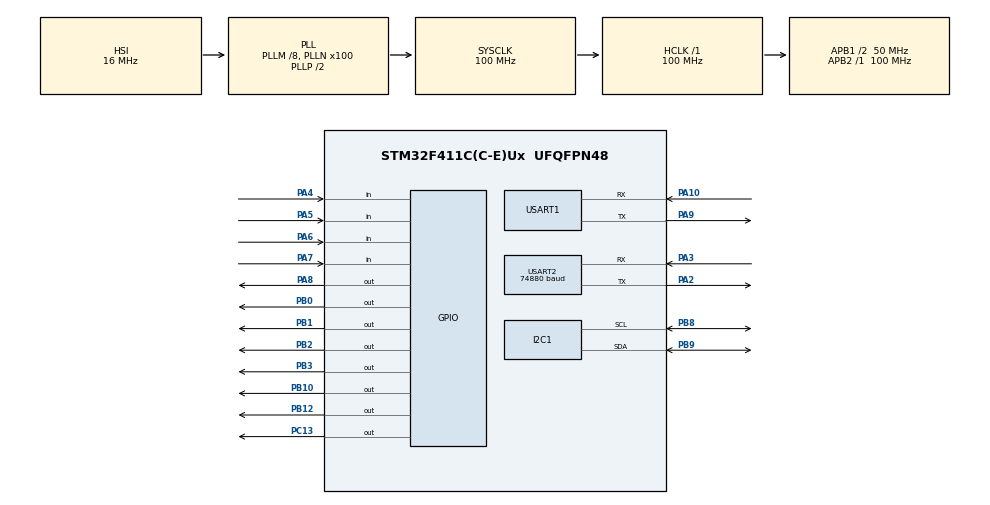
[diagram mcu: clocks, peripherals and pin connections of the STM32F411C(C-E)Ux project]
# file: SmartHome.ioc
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FREERTOS.Tasks01=defaultTask,24,128,StartDefaultTask,Default,NULL,Dynamic,NULL,NULL
I2C1.I2C_Mode=I2C_Fast
Mcu.Family=STM32F4
Mcu.Name=STM32F411C(C-E)Ux
Mcu.Package=UFQFPN48
NVIC.PriorityGroup=NVIC_PRIORITYGROUP_4
NVIC.TIM2_IRQn=true\:15\:0\:false\:false\:true\:false\:false\:true\:true
NVIC.TimeBase=TIM2_IRQn
NVIC.TimeBaseIP=TIM2
NVIC.USART2_IRQn=true\:6\:0\:true\:false\:true\:true\:true\:true\:true
PA10.Mode=Asynchronous
PA10.Signal=USART1_RX
PA13.Mode=Serial_Wire
PA13.Signal=SYS_JTMS-SWDIO
PA14.Mode=Serial_Wire
PA14.Signal=SYS_JTCK-SWCLK
PA2.Mode=Asynchronous
PA2.Signal=USART2_TX
PA3.Mode=Asynchronous
PA3.Signal=USART2_RX
PA4.Signal=GPIO_Input
PA5.Signal=GPIO_Input
PA6.Signal=GPIO_Input
PA7.Signal=GPIO_Input
PA8.Signal=GPIO_Output
PA9.Mode=Asynchronous
PA9.Signal=USART1_TX
PB0.Signal=GPIO_Output
PB1.Signal=GPIO_Output
PB10.Signal=GPIO_Output
PB12.Signal=GPIO_Output
PB2.Signal=GPIO_Output
PB3.GPIO_ModeDefaultOutputPP=GPIO_MODE_OUTPUT_OD
PB3.GPIO_PuPd=GPIO_PULLUP
PB3.GPIO_Speed=GPIO_SPEED_FREQ_HIGH
PB3.PinState=GPIO_PIN_SET
PB3.Signal=GPIO_Output
PB8.Mode=I2C
PB8.Signal=I2C1_SCL
PB9.Mode=I2C
PB9.Signal=I2C1_SDA
PC13-ANTI_TAMP.Signal=GPIO_Output
ProjectManager.HeapSize=0x200
ProjectManager.StackSize=0x400
ProjectManager.TargetToolchain=MDK-ARM V5.32
RCC.48MHZClocksFreq_Value=50000000
RCC.AHBFreq_Value=100000000
RCC.APB1CLKDivider=RCC_HCLK_DIV2
RCC.APB1Freq_Value=50000000
RCC.APB1TimFreq_Value=100000000
RCC.APB2Freq_Value=100000000
RCC.APB2TimFreq_Value=100000000
RCC.CortexFreq_Value=100000000
RCC.HCLKFreq_Value=100000000
RCC.HSE_VALUE=25000000
RCC.HSI_VALUE=16000000
RCC.LSE_VALUE=32768
RCC.PLLM=8
RCC.PLLN=100
RCC.SYSCLKFreq_VALUE=100000000
RCC.SYSCLKSource=RCC_SYSCLKSOURCE_PLLCLK
RCC.VCOOutputFreq_Value=200000000
USART1.VirtualMode=VM_ASYNC
USART2.BaudRate=74880
USART2.VirtualMode=VM_ASYNC
VP_FREERTOS_VS_CMSIS_V2.Mode=CMSIS_V2
VP_SYS_VS_tim2.Mode=TIM2
board=custom

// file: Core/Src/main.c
/* USER CODE BEGIN Header */
/**
  ******************************************************************************
  * @file           : main.c
  * @brief          : Main program body
  ******************************************************************************
  * @attention
  *
  * Copyright (c) 2024 STMicroelectronics.
  * All rights reserved.
  *
  * This software is licensed under terms that can be found in the LICENSE file
  * in the root directory of this software component.
  * If no LICENSE file comes with this software, it is provided AS-IS.
  *
  ******************************************************************************
  */
/* USER CODE END Header */
#include "main.h"
#include "cmsis_os.h"
#include "i2c.h"
#include "usart.h"
#include "gpio.h"

/* USER CODE BEGIN Includes */
#include "dht11.h"
#include "link.h"
/* USER CODE END Includes */

void SystemClock_Config(void);
void MX_FREERTOS_Init(void);

int main(void)
{

  /* MCU Configuration--------------------------------------------------------*/

  /* Reset of all peripherals, Initializes the Flash interface and the Systick. */
  HAL_Init();

  /* Configure the system clock */
  SystemClock_Config();

  /* Initialize all configured peripherals */
  MX_GPIO_Init();
  MX_I2C1_Init();
  MX_USART1_UART_Init();
  MX_USART2_UART_Init();
  /* USER CODE BEGIN 2 */
  Init_Link();         //初始化链表，保存闹钟信息
  /* USER CODE END 2 */

  /* Init scheduler */
  osKernelInitialize();

  /* Call init function for freertos objects (in cmsis_os2.c) */
  MX_FREERTOS_Init();

  /* Start scheduler */
  osKernelStart();

  /* We should never get here as control is now taken by the scheduler */

  /* Infinite loop */
  while (1)
  {

  }
}

void SystemClock_Config(void)
{
  RCC_OscInitTypeDef RCC_OscInitStruct = {0};
  RCC_ClkInitTypeDef RCC_ClkInitStruct = {0};

  /** Configure the main internal regulator output voltage
  */
  __HAL_RCC_PWR_CLK_ENABLE();
  __HAL_PWR_VOLTAGESCALING_CONFIG(PWR_REGULATOR_VOLTAGE_SCALE1);

  /** Initializes the RCC Oscillators according to the specified parameters
  * in the RCC_OscInitTypeDef structure.
  */
  RCC_OscInitStruct.OscillatorType = RCC_OSCILLATORTYPE_HSI;
  RCC_OscInitStruct.HSIState = RCC_HSI_ON;
  RCC_OscInitStruct.HSICalibrationValue = RCC_HSICALIBRATION_DEFAULT;
  RCC_OscInitStruct.PLL.PLLState = RCC_PLL_ON;
  RCC_OscInitStruct.PLL.PLLSource = RCC_PLLSOURCE_HSI;
  RCC_OscInitStruct.PLL.PLLM = 8;
  RCC_OscInitStruct.PLL.PLLN = 100;
  RCC_OscInitStruct.PLL.PLLP = RCC_PLLP_DIV2;
  RCC_OscInitStruct.PLL.PLLQ = 4;
  if (HAL_RCC_OscConfig(&RCC_OscInitStruct) != HAL_OK)
  {
    Error_Handler();
  }

  /** Initializes the CPU, AHB and APB buses clocks
  */
  RCC_ClkInitStruct.ClockType = RCC_CLOCKTYPE_HCLK|RCC_CLOCKTYPE_SYSCLK
                              |RCC_CLOCKTYPE_PCLK1|RCC_CLOCKTYPE_PCLK2;
  RCC_ClkInitStruct.SYSCLKSource = RCC_SYSCLKSOURCE_PLLCLK;
  RCC_ClkInitStruct.AHBCLKDivider = RCC_SYSCLK_DIV1;
  RCC_ClkInitStruct.APB1CLKDivider = RCC_HCLK_DIV2;
  RCC_ClkInitStruct.APB2CLKDivider = RCC_HCLK_DIV1;

  if (HAL_RCC_ClockConfig(&RCC_ClkInitStruct, FLASH_LATENCY_3) != HAL_OK)
  {
    Error_Handler();
  }
}

void HAL_TIM_PeriodElapsedCallback(TIM_HandleTypeDef *htim)
{
  if (htim->Instance == TIM2) {
    HAL_IncTick();
  }
}

void Error_Handler(void)
{
  __disable_irq();
  while (1)
  {
  }
}

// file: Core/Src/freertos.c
/* USER CODE BEGIN Header */
/**
  ******************************************************************************
  * File Name          : freertos.c
  * Description        : Code for freertos applications
  ******************************************************************************
  * @attention
  *
  * Copyright (c) 2024 STMicroelectronics.
  * All rights reserved.
  *
  * This software is licensed under terms that can be found in the LICENSE file
  * in the root directory of this software component.
  * If no LICENSE file comes with this software, it is provided AS-IS.
  *
  ******************************************************************************
  */
/* USER CODE END Header */

#include "FreeRTOS.h"
#include "task.h"
#include "main.h"
#include "cmsis_os.h"

/* USER CODE BEGIN Includes */
#include "esp8266.h"
#include "oled.h"
#include "stdio.h"
#include "string.h"
#include "dht11.h"
#include "semphr.h"
#include "bh1750.h"
#include "show.h"
#include "timers.h"
#include "Upload.h"
#include "control.h"
#include "queue.h"
#include "link.h"
/* USER CODE END Includes */

/* USER CODE BEGIN Variables */
extern UART_HandleTypeDef huart1;
extern UART_HandleTypeDef huart2;

EnvINfo gInfo={.cur_time=1728620218,}; //初始化温湿度，亮度，时间结构体
xQueueHandle uartHanldle;
SemaphoreHandle_t semHandle;  //创建信号量
TimerHandle_t dataTimerHand;
TimerHandle_t BuzTimerHand;

uint8_t gMenu=1;
uint8_t gBuzzer=0;
uint8_t gUartBuf[256];

//创建接收服务器任务
osThreadId_t ReceiveTaskHandle;
const osThreadAttr_t ReceiveTask_attributes = {
  .name = "ReceiveTask",
  .stack_size = 128 * 4*4,
  .priority = (osPriority_t) osPriorityNormal,
};
//创建温湿度获取任务
osThreadId_t TempTaskHandle;
const osThreadAttr_t TempTask_attributes = {
  .name = "TempTask",
  .stack_size = 128 * 4,
  .priority = (osPriority_t) osPriorityNormal,
};

osThreadId_t LightTaskHandle;
const osThreadAttr_t LightTask_attributes = {
  .name = "LightTask",
  .stack_size = 128 * 4,
  .priority = (osPriority_t) osPriorityNormal,
};

osThreadId_t OLEDTaskHandle;
const osThreadAttr_t OLEDTask_attributes = {
  .name = "OLDETask",
  .stack_size = 128 * 4,
  .priority = (osPriority_t) osPriorityNormal1,
};

osThreadId_t UploadTaskHandle;
const osThreadAttr_t UploadTask_attributes = {
  .name = "UploadTask",
  .stack_size = 128 * 4*4,
  .priority = (osPriority_t) osPriorityNormal,
};
/* USER CODE END Variables */
/* Definitions for defaultTask */
osThreadId_t defaultTaskHandle;
const osThreadAttr_t defaultTask_attributes = {
  .name = "defaultTask",
  .stack_size = 128 * 4,
  .priority = (osPriority_t) osPriorityNormal,
};

/* USER CODE BEGIN FunctionPrototypes */
void ReceiveTask(void *arg);
void GetTempTask(void *arg);
void GetLightTask(void *arg);
void OLED_ShowTask(void *arg);
uint8_t Key_Scan(void);
void Data_Increase_Callback(TimerHandle_t xTimer);
void Upload_Task(void *arg);
void Buzzer_Callback(TimerHandle_t xTimer);
/* USER CODE END FunctionPrototypes */

void StartDefaultTask(void *argument);

void MX_FREERTOS_Init(void); /* (MISRA C 2004 rule 8.1) */

void MX_FREERTOS_Init(void) {

  /* USER CODE BEGIN RTOS_SEMAPHORES */
  /* add semaphores, ... */
  semHandle=xSemaphoreCreateBinary();
  xSemaphoreGive(semHandle);
  /* USER CODE END RTOS_SEMAPHORES */

  /* USER CODE BEGIN RTOS_TIMERS */
  /* start timers, add new ones, ... */
  int timeid=1;
  dataTimerHand=xTimerCreate("data",1000,pdTRUE,&timeid,Data_Increase_Callback);
  int timeid2=2;
  BuzTimerHand=xTimerCreate("Buzzer",1,pdTRUE,&timeid2,Buzzer_Callback);
  /* USER CODE END RTOS_TIMERS */

  /* USER CODE BEGIN RTOS_QUEUES */
  /* add queues, ... */
  uartHanldle=xQueueCreate(5,256);
  /* USER CODE END RTOS_QUEUES */

  /* Create the thread(s) */
  /* creation of defaultTask */
  defaultTaskHandle = osThreadNew(StartDefaultTask, NULL, &defaultTask_attributes);

}

void StartDefaultTask(void *argument)
{
  /* USER CODE BEGIN StartDefaultTask */
	OLED_Init();
	OLED_Clear();
	OLED_ShowString(0,0,(uint8_t*)" START WORKING",16);
	ESP8266_Init();
	if(ESP8266_Connect_AP(SSID,PASSWORD))
		OLED_ShowString(0,2,(uint8_t*)" WIFI 0K",16);
	else
		OLED_ShowString(0,2,(uint8_t*)" WIFI ERR",16);
	if(ESP8266_Connect_MQTT(IP, PORT, "test","test"))
		OLED_ShowString(0,4,(uint8_t*)" MQTT 0K",16);
	else
		OLED_ShowString(0,4,(uint8_t*)" MQTT ERR",16);
  if(ESP8266_MQTTSUB(DEVICEID))
    OLED_ShowString(0,6,(uint8_t*)"MQTT SUB OK",16);
  else
    OLED_ShowString(0,6,(uint8_t*)"MQTT SUB ERR",16);
  osDelay(1000);

  //启动timer
  xTimerStart(dataTimerHand,portMAX_DELAY);

  HAL_UARTEx_ReceiveToIdle_IT(&huart2,gUartBuf,sizeof(gUartBuf));
  //创建任务
  ReceiveTaskHandle=osThreadNew(ReceiveTask,NULL,&ReceiveTask_attributes);
  TempTaskHandle=osThreadNew(GetTempTask,NULL,&TempTask_attributes);
  LightTaskHandle=osThreadNew(GetLightTask,NULL,&LightTask_attributes);
  OLEDTaskHandle=osThreadNew(OLED_ShowTask,NULL,&OLEDTask_attributes);
  UploadTaskHandle=osThreadNew(Upload_Task,NULL,&UploadTask_attributes);
  /* Infinite loop */
  for(;;)
  {
    if(Key_Scan()==1)
    {
      if(gBuzzer==1)
      {
        Buzzer_Stop();
        gBuzzer=0;
      }
      else
      {
        gMenu++;
        if(gMenu==4)
          gMenu=1;
      }
    }
    if(gBuzzer==0&&Link_Alarm_Isset())
      {
        Buzzer_Start();
        gBuzzer=1;
      }
    else if(gBuzzer==1&&Link_Alarm_timeout())
    {
      Buzzer_Stop();
      gBuzzer=0;
    }

  }
  /* USER CODE END StartDefaultTask */
}

/* USER CODE BEGIN Application */
void ReceiveTask(void *arg)
{

  uint8_t msg[256]={0};
  while(1)
  {
    xQueueReceive(uartHanldle,msg,portMAX_DELAY);
    if(strlen((char*)msg)>10)
		{
			Parse_Message((char*)msg);
		}
      memset(msg,0,sizeof(msg));
  }
}
void GetTempTask(void *arg)
{
  uint8_t data[5] ={0};
//  OLED_Clear();
  while(1)
  {
    vTaskSuspendAll();  //关闭调度器
    DHT11_Read_Data(data);
    xTaskResumeAll();   //开启调度器
    xSemaphoreTake(semHandle,portMAX_DELAY);
    gInfo.temp=data[2];
    gInfo.humi=data[0];
    xSemaphoreGive(semHandle);
    osDelay(500);
  }
}
void GetLightTask(void *arg)
{
  uint8_t pdata[2]={0};
  uint16_t light=0;
  while(1)
  {
    BH1750_Send_CMD(0x20);
    osDelay(150);
    BH1750_Read_Data(pdata);
    light=BH1750_Data_To_Lx(pdata);
    xSemaphoreTake(semHandle,portMAX_DELAY);
    gInfo.light=light;
    xSemaphoreGive(semHandle);
    osDelay(350);
  }
}
/**
  * @brief 显示OLED
  * @param *arg
  * @return None
*/
void OLED_ShowTask(void *arg)
{
  OLED_ShowMenu();
}

/**
  * @brief 按键翻转页面函数
*/
uint8_t Key_Scan(void)
{
  if(HAL_GPIO_ReadPin(GPIOA,GPIO_PIN_4)==0)
  {
    while(HAL_GPIO_ReadPin(GPIOA,GPIO_PIN_4)==0);
    return 1;
  }
  return 0;
}

/**
  * @brief timer task  超时时间为1s
*/
void Data_Increase_Callback(TimerHandle_t xTimer)
{

  xSemaphoreTake(semHandle,portMAX_DELAY);
  HAL_GPIO_TogglePin(GPIOC,GPIO_PIN_13);
  gInfo.cur_time++;
  xSemaphoreGive(semHandle);
}
/**
  * @brief 定时器蜂鸣器
*/
void Buzzer_Callback(TimerHandle_t xTimer)
{
  HAL_GPIO_TogglePin(GPIOA,GPIO_PIN_8);
}
/**
  * @brief 上传数据
*/
void Upload_Task(void *arg)
{
	while(1)
	{
		UploadHandle();
		osDelay(1000);
	}
}
/* USER CODE END Application */
